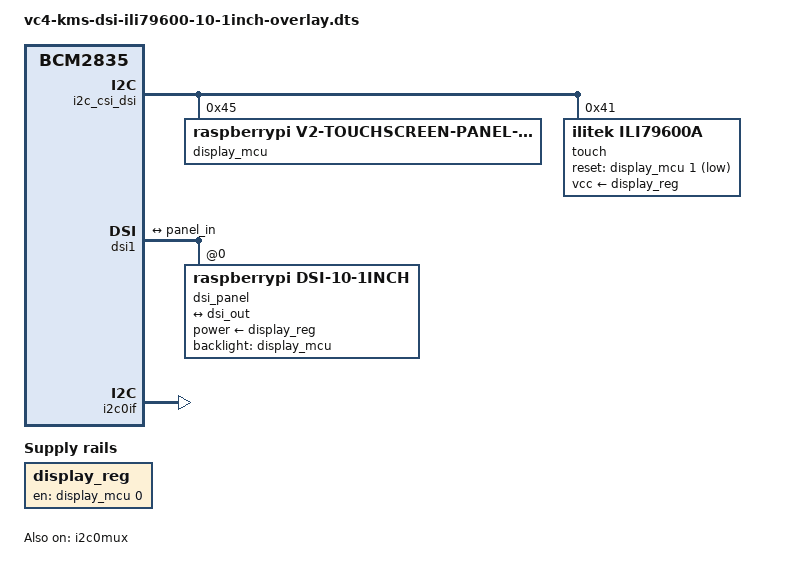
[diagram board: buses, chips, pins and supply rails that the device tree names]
/*
 * vc4-kms-dsi-ili79600-10-1inch-overlay.dts
 */

/dts-v1/;
/plugin/;

#include <dt-bindings/gpio/gpio.h>

/ {
	compatible = "brcm,bcm2835";

	i2c_frag: fragment@0 {
		target = <&i2c_csi_dsi>;
		__overlay__ {
			#address-cells = <1>;
			#size-cells = <0>;
			status = "okay";

			display_mcu: display_mcu@45
			{
				compatible = "raspberrypi,v2-touchscreen-panel-regulator";
				reg = <0x45>;
				gpio-controller;
				#gpio-cells = <2>;
			};

			touch: ts@41 {
				compatible = "ilitek,ili79600a";
				reg = <0x41>;

				reset-gpio = <&display_mcu 1 GPIO_ACTIVE_LOW>;

				touchscreen-size-x = < 1200 >;
				touchscreen-size-y = < 1920 >;
				vcc-supply = <&display_reg>;

				panel = <&dsi_panel>;
			};
		};
	};

	dsi_frag: fragment@1 {
		target = <&dsi1>;
		__overlay__  {
			#address-cells = <1>;
			#size-cells = <0>;
			status = "okay";

			port {
				dsi_out: endpoint {
					remote-endpoint = <&panel_in>;
				};
			};

			dsi_panel: dsi_panel@0 {
				reg = <0>;
				compatible = "raspberrypi,dsi-10-1inch";
				power-supply = <&display_reg>;
				backlight = <&display_mcu>;

				port {
					panel_in: endpoint {
						remote-endpoint = <&dsi_out>;
					};
				};
			};
		};
	};

	fragment@2 {
		target = <&i2c0if>;
		__overlay__ {
			status = "okay";
		};
	};

	fragment@3 {
		target = <&i2c0mux>;
		__overlay__ {
			status = "okay";
		};
	};

	fragment@4 {
		target-path = "/";
		__overlay__ {
			display_reg: display_reg@1 {
				reg = <1>;
				compatible = "regulator-fixed";
				regulator-name = "display_reg_1";
				gpio = <&display_mcu 0 GPIO_ACTIVE_HIGH>;
				startup-delay-us = <50000>;
				enable-active-high;
			};
		};
	};

	fragment@10 {
		target = <&touch>;
		__dormant__ {
			touchscreen-inverted-x;
		};
	};

	fragment@11 {
		target = <&touch>;
		__dormant__ {
			touchscreen-inverted-y;
		};
	};

	__overrides__ {
		sizex = <&touch>,"touchscreen-size-x:0";
		sizey = <&touch>,"touchscreen-size-y:0";
		invx = <0>, "+10";
		invy = <0>, "+11";
		swapxy = <&touch>,"touchscreen-swapped-x-y?";
		disable_touch = <&touch>, "status=disabled";
		rotation = <&dsi_panel>, "rotation:0";
		dsi0 = <&dsi_frag>, "target:0=",<&dsi0>,
		       <&i2c_frag>, "target:0=",<&i2c_csi_dsi0>,
		       <&display_reg>, "reg:0=0",
		       <&display_reg>, "regulator-name=display_reg_0";
	};
};
